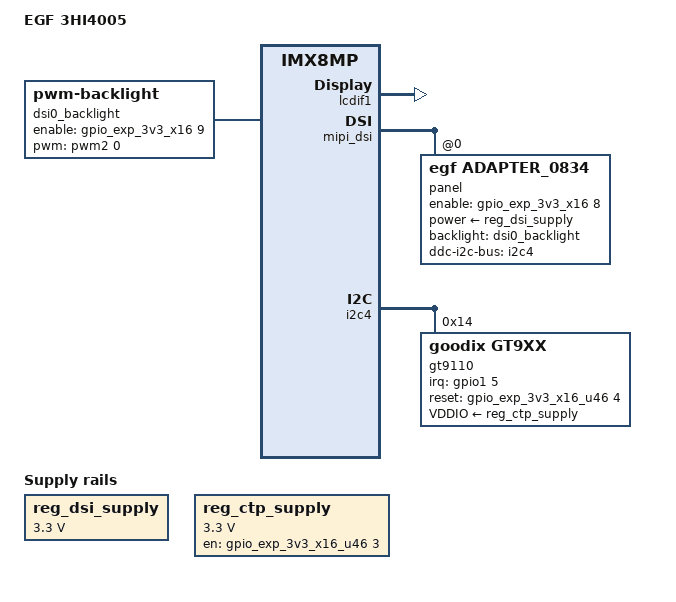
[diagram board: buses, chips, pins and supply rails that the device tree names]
// SPDX-License-Identifier: GPL-2.0+
/*
 * Copyright 2020 NXP
 * Copyright 2024 Elettronica GF s.r.l. con Socio Unico
 */

/dts-v1/;

#include "imx8mp-egf-3pb1001-rev2.dts"

 / {
	model = "EGF 3HI4005";
 
 	reg_dsi_supply: regulator-3v3-dsi{
		compatible = "regulator-fixed";
		regulator-name = "DSI-3V3";
		regulator-min-microvolt = <3300000>;
		regulator-max-microvolt = <3300000>;
	};
	
	reg_ctp_supply: regulator-3v3-ctp {
		compatible = "regulator-fixed";
		regulator-name = "VCC_3V3_CTP";
		gpio = <&gpio_exp_3v3_x16_u46 3 GPIO_ACTIVE_HIGH>;
		regulator-min-microvolt = <3300000>;
		regulator-max-microvolt = <3300000>;
		enable-active-high;
		regulator-always-on;
	};
	
 	dsi0_backlight: backlight {
		compatible = "pwm-backlight";
		pwms = <&pwm2 0 100000 0>;
		enable-gpios = <&gpio_exp_3v3_x16 9 GPIO_ACTIVE_HIGH>;
		status = "okay";
		brightness-levels = < 0  1  2  3  4  5  6  7  8  9
				     10 11 12 13 14 15 16 17 18 19
				     20 21 22 23 24 25 26 27 28 29
				     30 31 32 33 34 35 36 37 38 39
				     40 41 42 43 44 45 46 47 48 49
				     50 51 52 53 54 55 56 57 58 59
				     60 61 62 63 64 65 66 67 68 69
				     70 71 72 73 74 75 76 77 78 79
				     80 81 82 83 84 85 86 87 88 89
				     90 91 92 93 94 95 96 97 98 99
				    100>;
		default-brightness-level = <80>;
    };
 };

&lcdif1 {
	status = "okay";
};

&mipi_dsi {
	status = "okay";
	panel@0 {
		compatible = "egf,adapter_0834";
        reg = <0>;
       	dsi-lanes = <4>;
        pinctrl-names = "default";
		ddc-i2c-bus = <&i2c4>;	
		backlight = <&dsi0_backlight>;	
		enable-gpio = <&gpio_exp_3v3_x16 8 GPIO_ACTIVE_HIGH>;
		power-supply =  <&reg_dsi_supply>;
		status = "okay";
	};
};


&i2c4 {
	gt9110@14 {
		compatible = "goodix,gt9xx";
		status = "okay";
		reg = <0x14>;
		pinctrl-names = "default";
		pinctrl-0 = <&pinctrl_ts>;
		VDDIO-supply = <&reg_ctp_supply>;
		edge-failling-trigger;
		interrupt-parent = <&gpio1>;
		interrupts = <5 IRQ_TYPE_EDGE_FALLING>;
		irq-gpios = <&gpio1 5 GPIO_ACTIVE_HIGH>;
		reset-gpios = <&gpio_exp_3v3_x16_u46 4 GPIO_ACTIVE_HIGH>;

		touchscreen-size-x = <1024>;
		touchscreen-size-y = <600>;


		touchscreen-max-id = <11>;
		touchscreen-max-w = <512>;
		touchscreen-max-p = <512>;

		goodix,slide-wakeup = <0>;
		goodix,type-a-report = <0>;
		goodix,driver-send-cfg = <0>;
		goodix,resume-in-workqueue = <0>;
		goodix,int-sync = <1>;
		goodix,swap-x2y = <0>;
		goodix,esd-protect = <1>;
		goodix,auto-update-cfg = <1>;
		goodix,auto-update = <1>;
		goodix,power-off-sleep = <0>;
		goodix,pen-suppress-finger = <0>;
		goodix,cfg-group0 = [];
    };	
};
